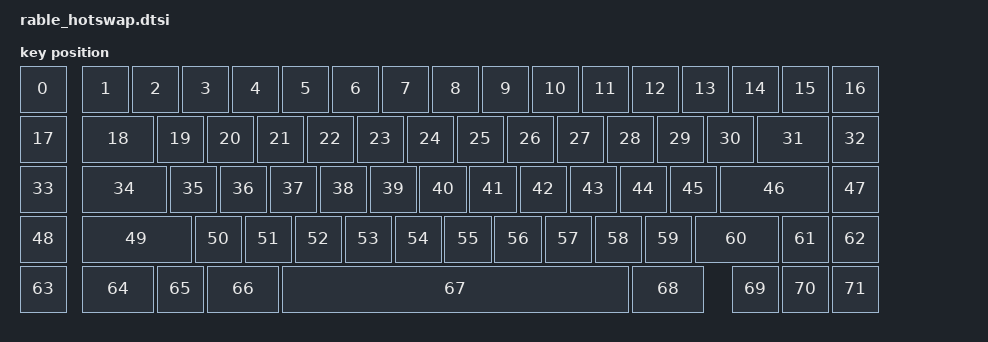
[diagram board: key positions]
#include <physical_layouts.dtsi>

/ {
    rable65_hotswap: rable65_hotswap {
        compatible = "zmk,physical-layout";
        display-name = "RABLE65_PLUS";

        kscan = <&kscan0>;
        transform = <&default_transform>;

        keys  //                     w   h    x    y     rot    rx    ry
            = <&key_physical_attrs 100 100    0    0       0     0     0>
            , <&key_physical_attrs 100 100  125    0       0     0     0>
            , <&key_physical_attrs 100 100  225    0       0     0     0>
            , <&key_physical_attrs 100 100  325    0       0     0     0>
            , <&key_physical_attrs 100 100  425    0       0     0     0>
            , <&key_physical_attrs 100 100  525    0       0     0     0>
            , <&key_physical_attrs 100 100  625    0       0     0     0>
            , <&key_physical_attrs 100 100  725    0       0     0     0>
            , <&key_physical_attrs 100 100  825    0       0     0     0>
            , <&key_physical_attrs 100 100  925    0       0     0     0>
            , <&key_physical_attrs 100 100 1025    0       0     0     0>
            , <&key_physical_attrs 100 100 1125    0       0     0     0>
            , <&key_physical_attrs 100 100 1225    0       0     0     0>
            , <&key_physical_attrs 100 100 1325    0       0     0     0>
            , <&key_physical_attrs 100 100 1425    0       0     0     0>
            , <&key_physical_attrs 100 100 1525    0       0     0     0>
            , <&key_physical_attrs 100 100 1625    0       0     0     0>
            , <&key_physical_attrs 100 100    0  100       0     0     0>
            , <&key_physical_attrs 150 100  125  100       0     0     0>
            , <&key_physical_attrs 100 100  275  100       0     0     0>
            , <&key_physical_attrs 100 100  375  100       0     0     0>
            , <&key_physical_attrs 100 100  475  100       0     0     0>
            , <&key_physical_attrs 100 100  575  100       0     0     0>
            , <&key_physical_attrs 100 100  675  100       0     0     0>
            , <&key_physical_attrs 100 100  775  100       0     0     0>
            , <&key_physical_attrs 100 100  875  100       0     0     0>
            , <&key_physical_attrs 100 100  975  100       0     0     0>
            , <&key_physical_attrs 100 100 1075  100       0     0     0>
            , <&key_physical_attrs 100 100 1175  100       0     0     0>
            , <&key_physical_attrs 100 100 1275  100       0     0     0>
            , <&key_physical_attrs 100 100 1375  100       0     0     0>
            , <&key_physical_attrs 150 100 1475  100       0     0     0>
            , <&key_physical_attrs 100 100 1625  100       0     0     0>
            , <&key_physical_attrs 100 100    0  200       0     0     0>
            , <&key_physical_attrs 175 100  125  200       0     0     0>
            , <&key_physical_attrs 100 100  300  200       0     0     0>
            , <&key_physical_attrs 100 100  400  200       0     0     0>
            , <&key_physical_attrs 100 100  500  200       0     0     0>
            , <&key_physical_attrs 100 100  600  200       0     0     0>
            , <&key_physical_attrs 100 100  700  200       0     0     0>
            , <&key_physical_attrs 100 100  800  200       0     0     0>
            , <&key_physical_attrs 100 100  900  200       0     0     0>
            , <&key_physical_attrs 100 100 1000  200       0     0     0>
            , <&key_physical_attrs 100 100 1100  200       0     0     0>
            , <&key_physical_attrs 100 100 1200  200       0     0     0>
            , <&key_physical_attrs 100 100 1300  200       0     0     0>
            , <&key_physical_attrs 225 100 1400  200       0     0     0>
            , <&key_physical_attrs 100 100 1625  200       0     0     0>
            , <&key_physical_attrs 100 100    0  300       0     0     0>
            , <&key_physical_attrs 225 100  125  300       0     0     0>
            , <&key_physical_attrs 100 100  350  300       0     0     0>
            , <&key_physical_attrs 100 100  450  300       0     0     0>
            , <&key_physical_attrs 100 100  550  300       0     0     0>
            , <&key_physical_attrs 100 100  650  300       0     0     0>
            , <&key_physical_attrs 100 100  750  300       0     0     0>
            , <&key_physical_attrs 100 100  850  300       0     0     0>
            , <&key_physical_attrs 100 100  950  300       0     0     0>
            , <&key_physical_attrs 100 100 1050  300       0     0     0>
            , <&key_physical_attrs 100 100 1150  300       0     0     0>
            , <&key_physical_attrs 100 100 1250  300       0     0     0>
            , <&key_physical_attrs 175 100 1350  300       0     0     0>
            , <&key_physical_attrs 100 100 1525  300       0     0     0>
            , <&key_physical_attrs 100 100 1625  300       0     0     0>
            , <&key_physical_attrs 100 100    0  400       0     0     0>
            , <&key_physical_attrs 150 100  125  400       0     0     0>
            , <&key_physical_attrs 100 100  275  400       0     0     0>
            , <&key_physical_attrs 150 100  375  400       0     0     0>
            , <&key_physical_attrs 700 100  525  400       0     0     0>
            , <&key_physical_attrs 150 100 1225  400       0     0     0>
            , <&key_physical_attrs 100 100 1425  400       0     0     0>
            , <&key_physical_attrs 100 100 1525  400       0     0     0>
            , <&key_physical_attrs 100 100 1625  400       0     0     0>
            ;
    };
};
